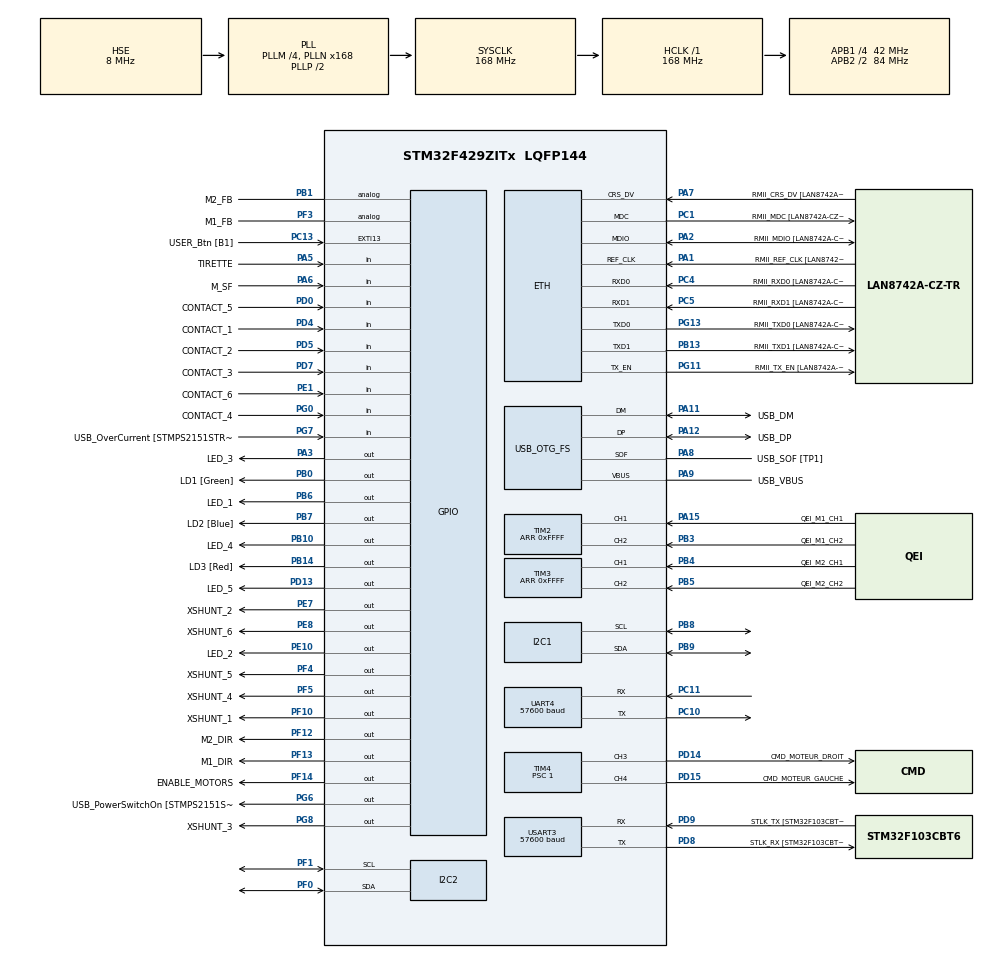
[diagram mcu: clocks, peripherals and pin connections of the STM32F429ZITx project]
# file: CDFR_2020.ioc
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ETH.MediaInterface=ETH_MEDIA_INTERFACE_RMII
ETH.PHY_Name=LAN8742A_PHY_ADDRESS
ETH.PHY_Value=0
ETH.PhyAddress=0
FREERTOS.INCLUDE_vTaskDelayUntil=1
FREERTOS.Tasks01=defaultTask,0,128,StartDefaultTask,Default,NULL,Dynamic,NULL,NULL;MotionRegTask,2,128,StartMotionRegTask,Default,NULL,Dynamic,NULL,NULL;OdometryRegTask,3,128,StartOdometryRegTask,Default,NULL,Dynamic,NULL,NULL;SensorsTask,0,128,StartSensorsTask,Default,NULL,Dynamic,NULL,NULL;DebugTask,0,256,StartDebugTask,Default,NULL,Dynamic,NULL,NULL
LWIP.GATEWAY_ADDRESS=192.168.000.001
LWIP.IP_ADDRESS=192.168.000.050
LWIP.LWIP_DHCP=0
LWIP.LWIP_DNS=0
LWIP.MEMP_NUM_TCP_PCB=2
LWIP.MEMP_NUM_UDP_PCB=2
LWIP.NETMASK_ADDRESS=255.255.255.000
LWIP.Version=v2.0.3_Cube
Mcu.Family=STM32F4
Mcu.Name=STM32F429ZITx
Mcu.Package=LQFP144
NVIC.ETH_IRQn=true\:5\:0\:false\:false\:true\:true\:false\:true
NVIC.I2C1_ER_IRQn=true\:5\:0\:false\:false\:true\:true\:true\:true
NVIC.I2C1_EV_IRQn=true\:5\:0\:false\:false\:true\:true\:true\:true
NVIC.OTG_FS_IRQn=true\:5\:0\:false\:false\:true\:true\:false\:true
NVIC.PriorityGroup=NVIC_PRIORITYGROUP_4
NVIC.TIM1_UP_TIM10_IRQn=true\:0\:0\:false\:false\:true\:false\:false\:true
NVIC.TimeBase=TIM1_UP_TIM10_IRQn
NVIC.TimeBaseIP=TIM10
NVIC.UART4_IRQn=true\:5\:0\:false\:false\:true\:true\:true\:true
NVIC.USART3_IRQn=true\:5\:0\:false\:false\:true\:true\:true\:true
PA1.GPIO_Label=RMII_REF_CLK [LAN8742A-CZ-TR_REFCLK0]
PA1.Mode=RMII
PA1.Signal=ETH_REF_CLK
PA10.GPIO_Label=USB_ID
PA10.Signal=USB_OTG_FS_ID
PA11.GPIO_Label=USB_DM
PA11.Mode=Device_Only
PA11.Signal=USB_OTG_FS_DM
PA12.GPIO_Label=USB_DP
PA12.Mode=Device_Only
PA12.Signal=USB_OTG_FS_DP
PA13.GPIO_Label=TMS
PA13.Mode=Serial_Wire
PA13.Signal=SYS_JTMS-SWDIO
PA14.GPIO_Label=TCK
PA14.Mode=Serial_Wire
PA14.Signal=SYS_JTCK-SWCLK
PA15.GPIO_Label=QEI_M1_CH1
PA15.GPIO_PuPd=GPIO_PULLUP
PA15.GPIO_Speed=GPIO_SPEED_FREQ_HIGH
PA15.Signal=S_TIM2_CH1_ETR
PA2.GPIO_Label=RMII_MDIO [LAN8742A-CZ-TR_MDIO]
PA2.Mode=RMII
PA2.Signal=ETH_MDIO
PA3.GPIO_Label=LED_3
PA3.Signal=GPIO_Output
PA5.GPIO_Label=TIRETTE
PA5.Signal=GPIO_Input
PA6.GPIO_Label=M_SF
PA6.Signal=GPIO_Input
PA7.GPIO_Label=RMII_CRS_DV [LAN8742A-CZ-TR_CRS_DV]
PA7.Mode=RMII
PA7.Signal=ETH_CRS_DV
PA8.GPIO_Label=USB_SOF [TP1]
PA8.Mode=Activate_SOF_FS
PA8.Signal=USB_OTG_FS_SOF
PA9.GPIO_Label=USB_VBUS
PA9.Mode=Activate_VBUS
PA9.Signal=USB_OTG_FS_VBUS
PB0.GPIO_Label=LD1 [Green]
PB0.Signal=GPIO_Output
PB1.GPIO_Label=M2_FB
PB1.Signal=GPIO_Analog
PB10.GPIO_Label=LED_4
PB10.Signal=GPIO_Output
PB13.GPIO_Label=RMII_TXD1 [LAN8742A-CZ-TR_TXD1]
PB13.Mode=RMII
PB13.Signal=ETH_TXD1
PB14.GPIO_Label=LD3 [Red]
PB14.Signal=GPIO_Output
PB3.GPIO_Label=QEI_M1_CH2
PB3.GPIO_PuPd=GPIO_PULLUP
PB3.GPIO_Speed=GPIO_SPEED_FREQ_HIGH
PB3.Signal=S_TIM2_CH2
PB4.GPIO_Label=QEI_M2_CH1
PB4.GPIO_PuPd=GPIO_PULLUP
PB4.GPIO_Speed=GPIO_SPEED_FREQ_HIGH
PB4.Signal=S_TIM3_CH1
PB5.GPIO_Label=QEI_M2_CH2
PB5.GPIO_PuPd=GPIO_PULLUP
PB5.GPIO_Speed=GPIO_SPEED_FREQ_HIGH
PB5.Signal=S_TIM3_CH2
PB6.GPIO_Label=LED_1
PB6.Signal=GPIO_Output
PB7.GPIO_Label=LD2 [Blue]
PB7.Signal=GPIO_Output
PB8.Mode=I2C
PB8.Signal=I2C1_SCL
PB9.Mode=I2C
PB9.Signal=I2C1_SDA
PC1.GPIO_Label=RMII_MDC [LAN8742A-CZ-TR_MDC]
PC1.Mode=RMII
PC1.Signal=ETH_MDC
PC10.GPIO_Mode=GPIO_MODE_AF_PP
PC10.GPIO_PuPd=GPIO_PULLUP
PC10.Mode=Asynchronous
PC10.Signal=UART4_TX
PC11.Mode=Asynchronous
PC11.Signal=UART4_RX
PC13.GPIO_Label=USER_Btn [B1]
PC13.Signal=GPXTI13
PC14/OSC32_IN.Mode=LSE-External-Oscillator
PC14/OSC32_IN.Signal=RCC_OSC32_IN
PC15/OSC32_OUT.Mode=LSE-External-Oscillator
PC15/OSC32_OUT.Signal=RCC_OSC32_OUT
PC4.GPIO_Label=RMII_RXD0 [LAN8742A-CZ-TR_RXD0]
PC4.Mode=RMII
PC4.Signal=ETH_RXD0
PC5.GPIO_Label=RMII_RXD1 [LAN8742A-CZ-TR_RXD1]
PC5.Mode=RMII
PC5.Signal=ETH_RXD1
PC6.GPIO_Label=PWM_SERVO_1
PC6.Signal=S_TIM8_CH1
PC7.GPIO_Label=PWM_SERVO_2
PC7.Signal=S_TIM8_CH2
PC8.GPIO_Label=PWM_SERVO_3
PC8.Signal=S_TIM8_CH3
PC9.GPIO_Label=PWM_SERVO_4
PC9.Signal=S_TIM8_CH4
PD0.GPIO_Label=CONTACT_5
PD0.Signal=GPIO_Input
PD13.GPIO_Label=LED_5
PD13.Signal=GPIO_Output
PD14.GPIO_Label=CMD_MOTEUR_DROIT
PD14.Signal=S_TIM4_CH3
PD15.GPIO_Label=CMD_MOTEUR_GAUCHE
PD15.Signal=S_TIM4_CH4
PD4.GPIO_Label=CONTACT_1
PD4.Signal=GPIO_Input
PD5.GPIO_Label=CONTACT_2
PD5.Signal=GPIO_Input
PD7.GPIO_Label=CONTACT_3
PD7.Signal=GPIO_Input
PD8.GPIO_Label=STLK_RX [STM32F103CBT6_PA3]
PD8.Mode=Asynchronous
PD8.Signal=USART3_TX
PD9.GPIO_Label=STLK_TX [STM32F103CBT6_PA2]
PD9.Mode=Asynchronous
PD9.Signal=USART3_RX
PE1.GPIO_Label=CONTACT_6
PE1.Signal=GPIO_Input
PE10.GPIO_Label=LED_2
PE10.Signal=GPIO_Output
PE11.GPIO_Label=PWM_SERVO_6
PE11.Signal=S_TIM1_CH2
PE13.GPIO_Label=PWM_SERVO_7
PE13.Signal=S_TIM1_CH3
PE14.GPIO_Label=PWM_SERVO_8
PE14.Signal=S_TIM1_CH4
PE2.Signal=SPI4_SCK
PE4.Signal=SPI4_NSS
PE5.Signal=SPI4_MISO
PE6.Signal=SPI4_MOSI
PE7.GPIO_Label=XSHUNT_2
PE7.Signal=GPIO_Output
PE8.GPIO_Label=XSHUNT_6
PE8.Signal=GPIO_Output
PE9.GPIO_Label=PWM_SERVO_5
PE9.Signal=S_TIM1_CH1
PF0.Mode=I2C
PF0.Signal=I2C2_SDA
PF1.Mode=I2C
PF1.Signal=I2C2_SCL
PF10.GPIO_Label=XSHUNT_1
PF10.Signal=GPIO_Output
PF12.GPIO_Label=M2_DIR
PF12.Signal=GPIO_Output
PF13.GPIO_Label=M1_DIR
PF13.Signal=GPIO_Output
PF14.GPIO_Label=ENABLE_MOTORS
PF14.Signal=GPIO_Output
PF3.GPIO_Label=M1_FB
PF3.Signal=GPIO_Analog
PF4.GPIO_Label=XSHUNT_5
PF4.Signal=GPIO_Output
PF5.GPIO_Label=XSHUNT_4
PF5.Signal=GPIO_Output
PG0.GPIO_Label=CONTACT_4
PG0.Signal=GPIO_Input
PG11.GPIO_Label=RMII_TX_EN [LAN8742A-CZ-TR_TXEN]
PG11.Mode=RMII
PG11.Signal=ETH_TX_EN
PG13.GPIO_Label=RMII_TXD0 [LAN8742A-CZ-TR_TXD0]
PG13.Mode=RMII
PG13.Signal=ETH_TXD0
PG14.Signal=USART6_TX
PG6.GPIO_Label=USB_PowerSwitchOn [STMPS2151STR_EN]
PG6.Signal=GPIO_Output
PG7.GPIO_Label=USB_OverCurrent [STMPS2151STR_FAULT]
PG7.Signal=GPIO_Input
PG8.GPIO_Label=XSHUNT_3
PG8.Signal=GPIO_Output
PG9.Signal=USART6_RX
PH0/OSC_IN.GPIO_Label=MCO [STM32F103CBT6_PA8]
PH0/OSC_IN.Mode=HSE-External-Clock-Source
PH0/OSC_IN.Signal=RCC_OSC_IN
PH1/OSC_OUT.Mode=HSE-External-Clock-Source
PH1/OSC_OUT.Signal=RCC_OSC_OUT
ProjectManager.HeapSize=0x200
ProjectManager.StackSize=0x400
ProjectManager.TargetToolchain=STM32CubeIDE
RCC.48MHZClocksFreq_Value=48000000
RCC.AHBFreq_Value=168000000
RCC.APB1CLKDivider=RCC_HCLK_DIV4
RCC.APB1Freq_Value=42000000
RCC.APB1TimFreq_Value=84000000
RCC.APB2CLKDivider=RCC_HCLK_DIV2
RCC.APB2Freq_Value=84000000
RCC.APB2TimCLKDivider=2
RCC.APB2TimFreq_Value=168000000
RCC.CortexFreq_Value=168000000
RCC.HCLKFreq_Value=168000000
RCC.HSE_VALUE=8000000
RCC.HSI_VALUE=16000000
RCC.PLLM=4
RCC.PLLMUL=RCC_PLL_MUL9
RCC.PLLN=168
RCC.PLLQ=7
RCC.PRESCALERUSB=RCC_USBCLKSOURCE_PLL_DIV1_5
RCC.SYSCLKFreq_VALUE=168000000
RCC.SYSCLKSource=RCC_SYSCLKSOURCE_PLLCLK
RCC.SYSCLKSourceVirtual=RCC_SYSCLKSOURCE_PLLCLK
RCC.USBFreq_Value=48000000
RCC.VCOOutputFreq_Value=336000000
SH.S_TIM1_CH1.0=TIM1_CH1
SH.S_TIM1_CH2.0=TIM1_CH2
SH.S_TIM1_CH3.0=TIM1_CH3
SH.S_TIM1_CH4.0=TIM1_CH4
SH.S_TIM2_CH1_ETR.0=TIM2_CH1,Encoder_Interface
SH.S_TIM2_CH2.0=TIM2_CH2,Encoder_Interface
SH.S_TIM3_CH1.0=TIM3_CH1,Encoder_Interface
SH.S_TIM3_CH2.0=TIM3_CH2,Encoder_Interface
SH.S_TIM4_CH3.0=TIM4_CH3,PWM Generation3 CH3
SH.S_TIM4_CH4.0=TIM4_CH4,PWM Generation4 CH4
SH.S_TIM8_CH1.0=TIM8_CH1
SH.S_TIM8_CH2.0=TIM8_CH2
SH.S_TIM8_CH3.0=TIM8_CH3
SH.S_TIM8_CH4.0=TIM8_CH4
TIM2.EncoderMode=TIM_ENCODERMODE_TI12
TIM2.Period=0xFFFF
TIM3.EncoderMode=TIM_ENCODERMODE_TI12
TIM3.Period=0xFFFF
TIM4.AutoReloadPreload=TIM_AUTORELOAD_PRELOAD_ENABLE
TIM4.Channel-PWM\ Generation3\ CH3=TIM_CHANNEL_3
TIM4.Channel-PWM\ Generation4\ CH4=TIM_CHANNEL_4
TIM4.OC3Preload_PWM=ENABLE
TIM4.OCFastMode_PWM-PWM\ Generation3\ CH3=TIM_OCFAST_DISABLE
TIM4.Period=2250
TIM4.Prescaler=1
TIM4.Pulse-PWM\ Generation3\ CH3=20
UART4.BaudRate=57600
UART4.VirtualMode=Asynchronous
USART3.BaudRate=57600
USART3.VirtualMode=VM_ASYNC
USB_DEVICE.CLASS_NAME_FS=CDC
USB_DEVICE.VirtualMode-CDC_FS=Cdc
USB_DEVICE.VirtualModeFS=Cdc_FS
USB_OTG_FS.VirtualMode=Device_Only
VP_FREERTOS_VS_CMSIS_V1.Mode=CMSIS_V1
VP_LWIP_VS_Enabled.Mode=Enabled
VP_SYS_VS_tim10.Mode=TIM10
VP_TIM4_VS_ClockSourceINT.Mode=Internal
VP_USB_DEVICE_VS_USB_DEVICE_CDC_FS.Mode=CDC_FS
board=NUCLEO-F429ZI

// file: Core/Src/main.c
/* USER CODE BEGIN Header */
/**
  ******************************************************************************
  * @file           : main.c
  * @brief          : Main program body
  ******************************************************************************
  * @attention
  *
  * <h2><center>&copy; Copyright (c) 2019 STMicroelectronics.
  * All rights reserved.</center></h2>
  *
  * This software component is licensed by ST under BSD 3-Clause license,
  * the "License"; You may not use this file except in compliance with the
  * License. You may obtain a copy of the License at:
  *                        opensource.org/licenses/BSD-3-Clause
  *
  ******************************************************************************
  */
/* USER CODE END Header */

#include "main.h"
#include "cmsis_os.h"
#include "i2c.h"
#include "lwip.h"
#include "tim.h"
#include "usart.h"
#include "usb_device.h"
#include "gpio.h"

void SystemClock_Config(void);
void MX_FREERTOS_Init(void);

int main(void)
{

  /* MCU Configuration--------------------------------------------------------*/

  /* Reset of all peripherals, Initializes the Flash interface and the Systick. */
  HAL_Init();

  /* Configure the system clock */
  SystemClock_Config();

  /* Initialize all configured peripherals */
  MX_GPIO_Init();
  MX_USART3_UART_Init();
  MX_I2C1_Init();
  MX_I2C2_Init();
  MX_TIM4_Init();
  MX_UART4_Init();
  MX_TIM2_Init();
  MX_TIM3_Init();

  /* Call init function for freertos objects (in freertos.c) */
  MX_FREERTOS_Init();

  /* Start scheduler */
  osKernelStart();

  /* We should never get here as control is now taken by the scheduler */

  /* Infinite loop */
  while (1)
  {

  }
}

void SystemClock_Config(void)
{
  RCC_OscInitTypeDef RCC_OscInitStruct = {0};
  RCC_ClkInitTypeDef RCC_ClkInitStruct = {0};

  /** Configure the main internal regulator output voltage
  */
  __HAL_RCC_PWR_CLK_ENABLE();
  __HAL_PWR_VOLTAGESCALING_CONFIG(PWR_REGULATOR_VOLTAGE_SCALE1);
  /** Initializes the CPU, AHB and APB busses clocks
  */
  RCC_OscInitStruct.OscillatorType = RCC_OSCILLATORTYPE_HSE;
  RCC_OscInitStruct.HSEState = RCC_HSE_BYPASS;
  RCC_OscInitStruct.PLL.PLLState = RCC_PLL_ON;
  RCC_OscInitStruct.PLL.PLLSource = RCC_PLLSOURCE_HSE;
  RCC_OscInitStruct.PLL.PLLM = 4;
  RCC_OscInitStruct.PLL.PLLN = 168;
  RCC_OscInitStruct.PLL.PLLP = RCC_PLLP_DIV2;
  RCC_OscInitStruct.PLL.PLLQ = 7;
  if (HAL_RCC_OscConfig(&RCC_OscInitStruct) != HAL_OK)
  {
    Error_Handler();
  }
  /** Initializes the CPU, AHB and APB busses clocks
  */
  RCC_ClkInitStruct.ClockType = RCC_CLOCKTYPE_HCLK|RCC_CLOCKTYPE_SYSCLK
                              |RCC_CLOCKTYPE_PCLK1|RCC_CLOCKTYPE_PCLK2;
  RCC_ClkInitStruct.SYSCLKSource = RCC_SYSCLKSOURCE_PLLCLK;
  RCC_ClkInitStruct.AHBCLKDivider = RCC_SYSCLK_DIV1;
  RCC_ClkInitStruct.APB1CLKDivider = RCC_HCLK_DIV4;
  RCC_ClkInitStruct.APB2CLKDivider = RCC_HCLK_DIV2;

  if (HAL_RCC_ClockConfig(&RCC_ClkInitStruct, FLASH_LATENCY_5) != HAL_OK)
  {
    Error_Handler();
  }
}

void HAL_TIM_PeriodElapsedCallback(TIM_HandleTypeDef *htim)
{
  if (htim->Instance == TIM10) {
    HAL_IncTick();
  }
}

void Error_Handler(void)
{
}

/************************ (C) COPYRIGHT STMicroelectronics *****END OF FILE****/

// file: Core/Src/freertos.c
/* USER CODE BEGIN Header */
/**
  ******************************************************************************
  * File Name          : freertos.c
  * Description        : Code for freertos applications
  ******************************************************************************
  * @attention
  *
  * <h2><center>&copy; Copyright (c) 2019 STMicroelectronics.
  * All rights reserved.</center></h2>
  *
  * This software component is licensed by ST under Ultimate Liberty license
  * SLA0044, the "License"; You may not use this file except in compliance with
  * the License. You may obtain a copy of the License at:
  *                             www.st.com/SLA0044
  *
  ******************************************************************************
  */
/* USER CODE END Header */

#include "FreeRTOS.h"
#include "task.h"
#include "main.h"
#include "cmsis_os.h"

/* USER CODE BEGIN Includes */
#include "F_Odometry.h"
#include "F_Motion.h"
#include "F_LCD.h"
#include "usart.h"

#include "A_com.h"
#include "F_VL53L1X.h"
/* USER CODE END Includes */

osThreadId defaultTaskHandle;
osThreadId MotionRegTaskHandle;
osThreadId OdometryRegTaskHandle;
osThreadId SensorsTaskHandle;
osThreadId DebugTaskHandle;

void StartDefaultTask(void const * argument);
void StartMotionRegTask(void const * argument);
void StartOdometryRegTask(void const * argument);
void StartSensorsTask(void const * argument);
void StartDebugTask(void const * argument);

extern void MX_LWIP_Init(void);
extern void MX_USB_DEVICE_Init(void);
void MX_FREERTOS_Init(void); /* (MISRA C 2004 rule 8.1) */

/* GetIdleTaskMemory prototype (linked to static allocation support) */
void vApplicationGetIdleTaskMemory( StaticTask_t **ppxIdleTaskTCBBuffer, StackType_t **ppxIdleTaskStackBuffer, uint32_t *pulIdleTaskStackSize );

/* USER CODE BEGIN GET_IDLE_TASK_MEMORY */
static StaticTask_t xIdleTaskTCBBuffer;
static StackType_t xIdleStack[configMINIMAL_STACK_SIZE];

void vApplicationGetIdleTaskMemory( StaticTask_t **ppxIdleTaskTCBBuffer, StackType_t **ppxIdleTaskStackBuffer, uint32_t *pulIdleTaskStackSize )
{
  *ppxIdleTaskTCBBuffer = &xIdleTaskTCBBuffer;
  *ppxIdleTaskStackBuffer = &xIdleStack[0];
  *pulIdleTaskStackSize = configMINIMAL_STACK_SIZE;
  /* place for user code */
}
/* USER CODE END GET_IDLE_TASK_MEMORY */

void MX_FREERTOS_Init(void) {

  /* Create the thread(s) */
  /* definition and creation of defaultTask */
  osThreadDef(defaultTask, StartDefaultTask, osPriorityNormal, 0, 128);
  defaultTaskHandle = osThreadCreate(osThread(defaultTask), NULL);

  /* definition and creation of MotionRegTask */
  osThreadDef(MotionRegTask, StartMotionRegTask, osPriorityHigh, 0, 128);
  MotionRegTaskHandle = osThreadCreate(osThread(MotionRegTask), NULL);

  /* definition and creation of OdometryRegTask */
  osThreadDef(OdometryRegTask, StartOdometryRegTask, osPriorityRealtime, 0, 128);
  OdometryRegTaskHandle = osThreadCreate(osThread(OdometryRegTask), NULL);

  /* definition and creation of SensorsTask */
  osThreadDef(SensorsTask, StartSensorsTask, osPriorityNormal, 0, 128);
  SensorsTaskHandle = osThreadCreate(osThread(SensorsTask), NULL);

  /* definition and creation of DebugTask */
  osThreadDef(DebugTask, StartDebugTask, osPriorityNormal, 0, 256);
  DebugTaskHandle = osThreadCreate(osThread(DebugTask), NULL);

}

void StartDefaultTask(void const * argument)
{
  /* init code for LWIP */
  MX_LWIP_Init();

  /* init code for USB_DEVICE */
  MX_USB_DEVICE_Init();
  /* USER CODE BEGIN StartDefaultTask */
  tcpecho_init();

  /* Infinite loop */
  for(;;)
  {
	//F_GPIO_ToogleLedRed();
    osDelay(500);
  }
  /* USER CODE END StartDefaultTask */
}

void StartMotionRegTask(void const * argument)
{
  /* USER CODE BEGIN StartMotionRegTask */
	F_Motion_RegTask_Handler(argument);
  /* Infinite loop */
  for(;;)
  {
    osDelay(1000);
  }
  /* USER CODE END StartMotionRegTask */
}

void StartOdometryRegTask(void const * argument)
{
  /* USER CODE BEGIN StartOdometryRegTask */
	F_Odometry_RegTask_Handler(argument);
  /* Infinite loop */
  for(;;)
  {
    osDelay(10);
  }
  /* USER CODE END StartOdometryRegTask */
}

void StartSensorsTask(void const * argument)
{
  /* USER CODE BEGIN StartSensorsTask */
	F_VL53L1X_InitSensors();
  /* Infinite loop */
  for(;;)
  {
    F_VL53L1X_CheckSensors();

    osDelay(300);
  }
  /* USER CODE END StartSensorsTask */
}

void StartDebugTask(void const * argument)
{
  /* USER CODE BEGIN StartDebugTask */
	F_UART_DebugTask_Handler(argument);
	//F_LCD_DebugTask_Handler(argument);
  /* Infinite loop */
  for(;;)
  {
    osDelay(300);
  }
  /* USER CODE END StartDebugTask */
}

/************************ (C) COPYRIGHT STMicroelectronics *****END OF FILE****/
